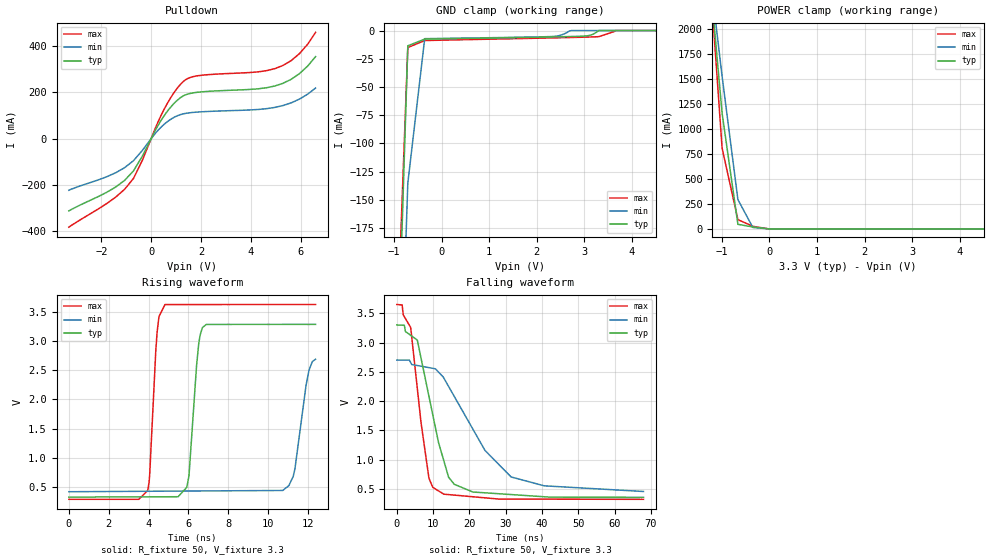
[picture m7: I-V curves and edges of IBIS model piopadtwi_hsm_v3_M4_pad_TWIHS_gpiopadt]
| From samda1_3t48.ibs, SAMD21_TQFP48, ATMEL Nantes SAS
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|   MODEL : piopadtwi_hsm_v3_M4_pad_TWIHS_gpiopadt
[Model] piopadtwi_hsm_v3_M4_pad_TWIHS_gpiopadt
Model_type I/O_open_sink
Vinl  =  0.99
Vinh  =  2.31
Vmeas =  1.650
| Capacitance   typ   min   max
C_comp   3.02848223662e-12   2.58581027971e-12   4.62796507101e-12
| Variables   typ   min   max
[GND Clamp Reference]   0   0   0
[POWER Clamp Reference]   3.3   2.7   3.65
[Pulldown Reference]   0   0   0
[Pullup Reference]   3.3   2.7   3.65
[Temperature Range]   25   125   -40
[Voltage Range]   3.3   2.7   3.65
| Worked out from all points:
|   slope of the pulldown table from 0 to 0.495 V, typ, clamps not added: 5.21 ohm
|   rising waveform, R_fixture 50, V_fixture 3.3: 20-80 % time 369ps typ, 530ps min, 297ps max; typ from 0.329 V to 3.28 V
|   falling waveform, R_fixture 50, V_fixture 3.3: 20-80 % time 6.37ns typ, 14ns min, 3.85ns max; typ from 3.3 V to 0.356 V
[GND Clamp]
| Voltage   I(typ)   I(min)   I(max)
-3.3V     -4.301A    -3.579A    -5.241A
-1.064V   -490.2mA   -576.8mA   -414.7mA
-709.1mV  -13.53mA   -135.2mA   -15.07mA
-354.5mV  -7.622mA   -7.224mA   -8.891mA
2.32V     -5.688mA   -5.293mA   -6.546mA
2.527V    -5.511mA   -3.785mA   -6.358mA
2.733V    -5.31mA    0A         -6.161mA
3.094V    -4.459mA   0A         -5.767mA
3.197V    -2.937mA   0A         -5.626mA
3.3V      343.5pA    0A         -5.455mA
3.65V     0A         0A         310.7pA
6.6V      0A         0A         0A
[POWER Clamp]
| Voltage   I(typ)   I(min)   I(max)
-3.3V     13.58A     11.01A     16.62A
-1.327V   2.909A     2.861A     3.046A
-995.5mV  1.157A     1.525A     807.4mA
-663.6mV  46.4mA     293.4mA    93.16mA
-350mV    19.95mA    15.23mA    27.01mA
0V        0A         367uA      0A
6.6V      0A         0A         0A
[Pulldown]
| Voltage   I(typ)   I(min)   I(max)
-3.3V     -311.2mA   -222.1mA   -381.4mA
-1.418V   -208mA     -146.5mA   -251.5mA
-709.1mV  -139mA     -94.73mA   -171.5mA
-354.5mV  -75.45mA   -50.71mA   -93.74mA
515.6mV   98.29mA    61.77mA    125.7mA
928.1mV   153.6mA    92.92mA    200.5mA
1.341V    187.7mA    108.7mA    251.5mA
1.959V    201.9mA    116mA      273.3mA
4.959V    227.7mA    135.3mA    302.6mA
5.623V    256.8mA    155.2mA    337.6mA
5.955V    281.3mA    171.4mA    367.7mA
6.6V      354.8mA    219.1mA    459.6mA
[Ramp]
dV/dt_r   1.78281/0.37189n  1.36782/0.53466n  2.01551/0.300418n
dV/dt_f   1.7827/6.45465n  1.3674/14.4199n  2.01548/3.89679n
R_load = 50
[Rising Waveform]
R_fixture = 50
V_fixture = 3.3
V_fixture_min = 2.7
V_fixture_max = 3.65
| Time   V(typ)   V(min)   V(max)
0s        328.7mV    420.3mV    290.8mV
3.957ns   333.2mV    428.3mV    441mV
4.427ns   333.8mV    429.2mV    3.147V
4.825ns   334.2mV    430mV      3.622V
5.919ns   495.9mV    432.2mV    3.622V
6.406ns   2.57V      433.2mV    3.622V
6.7ns     3.227V     433.8mV    3.622V
11.04ns   3.283V     525.4mV    3.623V
12.05ns   3.283V     2.494V     3.623V
12.38ns   3.283V     2.686V     3.623V
[Falling Waveform]
R_fixture = 50
V_fixture = 3.3
V_fixture_min = 2.7
V_fixture_max = 3.65
| Time   V(typ)   V(min)   V(max)
0s        3.3V       2.7V       3.65V
3.831ns   3.124V     2.658V     3.257V
6.673ns   2.737V     2.596V     1.637V
8.857ns   2.083V     2.572V     683mV
9.923ns   1.764V     2.56V      525.9mV
14.29ns   698.2mV    2.249V     402.4mV
15.84ns   578.4mV    2.08V      393.9mV
24.31ns   432.8mV    1.156V     347.2mV
31.5ns    403.1mV    703.8mV    325.5mV
67.97ns   356.3mV    455.4mV    321.6mV
